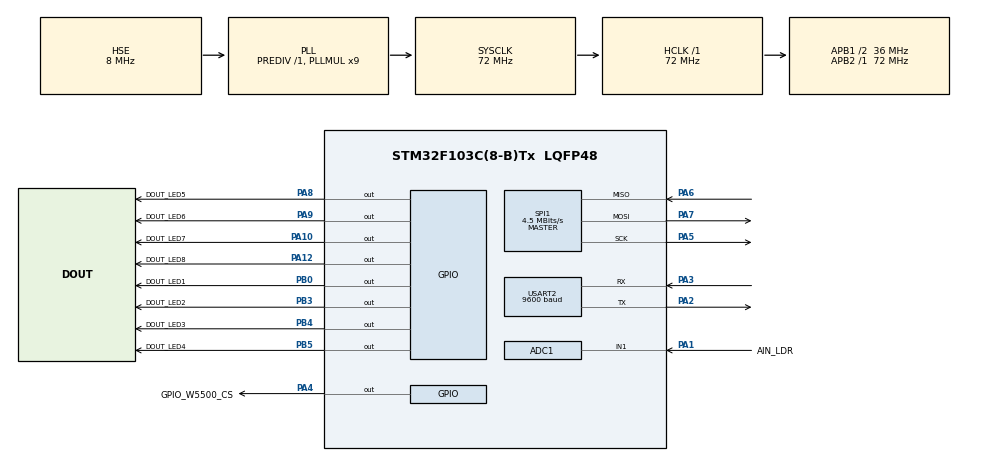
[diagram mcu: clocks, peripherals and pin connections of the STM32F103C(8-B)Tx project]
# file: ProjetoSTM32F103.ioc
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ADC1.EnableRegularConversion=DISABLE
ADC1.master=1
Mcu.Family=STM32F1
Mcu.Name=STM32F103C(8-B)Tx
Mcu.Package=LQFP48
NVIC.PriorityGroup=NVIC_PRIORITYGROUP_4
NVIC.USART2_IRQn=true\:1\:0\:true\:false\:true\:true\:true\:true
PA1.GPIO_Label=AIN_LDR
PA1.Signal=SharedAnalog_PA1
PA10.GPIO_Label=DOUT_LED7
PA10.Signal=GPIO_Output
PA12.GPIO_Label=DOUT_LED8
PA12.Signal=GPIO_Output
PA13.Mode=Serial_Wire
PA13.Signal=SYS_JTMS-SWDIO
PA14.Mode=Serial_Wire
PA14.Signal=SYS_JTCK-SWCLK
PA2.Mode=Asynchronous
PA2.Signal=USART2_TX
PA3.Mode=Asynchronous
PA3.Signal=USART2_RX
PA4.GPIO_Label=GPIO_W5500_CS
PA4.GPIO_Speed=GPIO_SPEED_FREQ_HIGH
PA4.Signal=GPIO_Output
PA5.Mode=Full_Duplex_Master
PA5.Signal=SPI1_SCK
PA6.Mode=Full_Duplex_Master
PA6.Signal=SPI1_MISO
PA7.Mode=Full_Duplex_Master
PA7.Signal=SPI1_MOSI
PA8.GPIO_Label=DOUT_LED5
PA8.Signal=GPIO_Output
PA9.GPIO_Label=DOUT_LED6
PA9.Signal=GPIO_Output
PB0.GPIO_Label=DOUT_LED1
PB0.Signal=GPIO_Output
PB3.GPIO_Label=DOUT_LED2
PB3.Signal=GPIO_Output
PB4.GPIO_Label=DOUT_LED3
PB4.Signal=GPIO_Output
PB5.GPIO_Label=DOUT_LED4
PB5.Signal=GPIO_Output
PC14-OSC32_IN.Mode=LSE-External-Oscillator
PC14-OSC32_IN.Signal=RCC_OSC32_IN
PC15-OSC32_OUT.Mode=LSE-External-Oscillator
PC15-OSC32_OUT.Signal=RCC_OSC32_OUT
PD0-OSC_IN.Mode=HSE-External-Oscillator
PD0-OSC_IN.Signal=RCC_OSC_IN
PD1-OSC_OUT.Mode=HSE-External-Oscillator
PD1-OSC_OUT.Signal=RCC_OSC_OUT
ProjectManager.HeapSize=0x200
ProjectManager.StackSize=0x400
ProjectManager.TargetToolchain=STM32CubeIDE
RCC.ADCPresc=RCC_ADCPCLK2_DIV6
RCC.AHBFreq_Value=72000000
RCC.APB1CLKDivider=RCC_HCLK_DIV2
RCC.APB1Freq_Value=36000000
RCC.APB1TimFreq_Value=72000000
RCC.APB2Freq_Value=72000000
RCC.APB2TimFreq_Value=72000000
RCC.HCLKFreq_Value=72000000
RCC.PLLMUL=RCC_PLL_MUL9
RCC.PLLSourceVirtual=RCC_PLLSOURCE_HSE
RCC.RTCClockSelection=RCC_RTCCLKSOURCE_LSE
RCC.SYSCLKFreq_VALUE=72000000
RCC.SYSCLKSource=RCC_SYSCLKSOURCE_PLLCLK
RCC.USBFreq_Value=72000000
SH.SharedAnalog_PA1.0=GPIO_Analog
SH.SharedAnalog_PA1.1=ADC1_IN1,IN1
SPI1.BaudRatePrescaler=SPI_BAUDRATEPRESCALER_16
SPI1.CalculateBaudRate=4.5 MBits/s
SPI1.Direction=SPI_DIRECTION_2LINES
SPI1.Mode=SPI_MODE_MASTER
SPI1.VirtualType=VM_MASTER
USART2.BaudRate=9600
USART2.Parity=PARITY_NONE
USART2.VirtualMode=VM_ASYNC
USART2.WordLength=WORDLENGTH_8B
board=custom

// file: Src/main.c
/* USER CODE BEGIN Header */
/**
  ******************************************************************************
  * @file           : main.c
  * @brief          : Main program body
  ******************************************************************************
  * @attention
  *
  * <h2><center>&copy; Copyright (c) 2019 STMicroelectronics.
  * All rights reserved.</center></h2>
  *
  * This software component is licensed by ST under BSD 3-Clause license,
  * the "License"; You may not use this file except in compliance with the
  * License. You may obtain a copy of the License at:
  *                        opensource.org/licenses/BSD-3-Clause
  *
  ******************************************************************************
  */
/* USER CODE END Header */
#include "main.h"

/* USER CODE BEGIN Includes */
#include "delay.h"
#include "spi.h"
#include "modbus.h"
#include <stdio.h>
#include <stdlib.h>
#include <stdarg.h>
#include <string.h>
#include "socket.h"	// Just include one header for WIZCHIP
/* USER CODE END Includes */

/* USER CODE BEGIN PTD */
typedef enum
{ Bit_RESET = 0,
  Bit_SET
}BitAction;

/* USER CODE END PTD */

/* USER CODE BEGIN PD */
#define LDR_VALUE  ADC_CHANNEL_1
/* USER CODE END PD */

ADC_HandleTypeDef hadc1;

SPI_HandleTypeDef hspi1;

UART_HandleTypeDef huart2;

/* USER CODE BEGIN PV */

char writeValue[60];
uint8_t cnt;
BitAction operatorOk = 0;
uint32_t address_mem = 0;

uint8_t TX_buffer[128];
uint8_t RX_buffer[128];
uint16_t holding_registers[64];

uint8_t S1 = 0;
uint8_t S2 = 0;
uint8_t S3 = 0;
uint8_t flag_busy_RTU = 0;
uint8_t cntBufferRTU = 0;
uint8_t FrameNrBytes = 0;

////////////////////////////////////////////////
// Shared Buffer Definition for LOOPBACK TEST //
////////////////////////////////////////////////
#define DATA_BUF_SIZE   2048
uint8_t gDATABUF[DATA_BUF_SIZE];

///////////////////////////////////
// Default Network Configuration //
///////////////////////////////////
wiz_NetInfo gWIZNETINFO = { .mac = {0xDE, 0xAD, 0xBE, 0xEF, 0xFE, 0xED},
							.ip = {169, 254, 216, 240},
							.sn = {255,255,255,0},
							.gw = {169, 254, 216, 1},
							.dns = {0,0,0,0},
							.dhcp = NETINFO_STATIC };

//states for multythread http
#define HTTP_IDLE 0
#define HTTP_SENDING 1

//variables for multythread http
uint32_t sentsize[_WIZCHIP_SOCK_NUM_];
uint32_t filesize[_WIZCHIP_SOCK_NUM_];
uint8_t http_state[_WIZCHIP_SOCK_NUM_];

/* USER CODE END PV */

void SystemClock_Config(void);
static void MX_GPIO_Init(void);
static void MX_USART2_UART_Init(void);
static void MX_SPI1_Init(void);
static void MX_ADC1_Init(void);
/* USER CODE BEGIN PFP */

// initialize the dependent host peripheral
void platform_init(void);
void reverse(char s[]);
void new_itoa(int n, char s[]);

//////////
// TODO //
//////////////////////////////////////////////////////////////////////////////////////////////
// Call back function for W5500 SPI - Theses used as parameter of reg_wizchip_xxx_cbfunc()  //
// Should be implemented by WIZCHIP users because host is dependent                         //
//////////////////////////////////////////////////////////////////////////////////////////////
void  wizchip_select(void);
void  wizchip_deselect(void);
void  wizchip_write(uint8_t wb);
uint8_t wizchip_read();
//////////////////////////////////////////////////////////////////////////////////////////////

//////////////////////////////////
// For example of ioLibrary_BSD //
//////////////////////////////////
void network_init(void);								// Initialize Network information and display it
int32_t tcp_http_mt(uint8_t, uint8_t*, uint16_t);		// Multythread TCP server
void HTTP_reset(uint8_t sockn);
//////////////////////////////////

//Define protótipos para funções de leitura dos canais analógicos configurados
uint32_t Ain_Read_value(uint32_t channel);

/* USER CODE END PFP */

int main(void)
{
  /* USER CODE BEGIN 1 */
	uint8_t i;
	uint8_t memsize[2][8] = {{2,2,2,2,2,2,2,2},{2,2,2,2,2,2,2,2}};
  /* USER CODE END 1 */

  /* MCU Configuration--------------------------------------------------------*/

  /* Reset of all peripherals, Initializes the Flash interface and the Systick. */
  HAL_Init();

  /* Configure the system clock */
  SystemClock_Config();

  /* Initialize all configured peripherals */
  MX_GPIO_Init();
  MX_USART2_UART_Init();
  MX_SPI1_Init();
  MX_ADC1_Init();
  /* USER CODE BEGIN 2 */
#if (ENABLE_MB_RTU == 1)&&(ENABLE_MB_TCP == 0)
  __HAL_UART_ENABLE_IT(&huart2,UART_IT_RXNE);
#endif

   ////////////////////////////////////////////////////////////////////////////////////////////////////
   // First of all, Should register SPI callback functions implemented by user for accessing WIZCHIP //
   ////////////////////////////////////////////////////////////////////////////////////////////////////

   /* Chip selection call back */

#if   _WIZCHIP_IO_MODE_ == _WIZCHIP_IO_MODE_SPI_VDM_
	reg_wizchip_cs_cbfunc(wizchip_select, wizchip_deselect);
#elif _WIZCHIP_IO_MODE_ == _WIZCHIP_IO_MODE_SPI_FDM_
	reg_wizchip_cs_cbfunc(wizchip_select, wizchip_select);  // CS must be tried with LOW.
#else
   #if (_WIZCHIP_IO_MODE_ & _WIZCHIP_IO_MODE_SIP_) != _WIZCHIP_IO_MODE_SIP_
	  #error "Unknown _WIZCHIP_IO_MODE_"
   #else
	  reg_wizchip_cs_cbfunc(wizchip_select, wizchip_deselect);
   #endif
#endif

	 /* SPI Read & Write callback function */
	reg_wizchip_spi_cbfunc(wizchip_read, wizchip_write);

	////////////////////////////////////////////////////////////////////////
	/* WIZCHIP SOCKET Buffer initialize */
	if(ctlwizchip(CW_INIT_WIZCHIP,(void*)memsize) == -1)
	{
	   //init fail
	   while(1);
	}

	/* Network initialization */
	network_init();

	//all connections inactive
	for(i=0;i<_WIZCHIP_SOCK_NUM_;i++)
	HTTP_reset(i);

  /* USER CODE END 2 */

  /* Infinite loop */
  while (1)
  {

    /* USER CODE BEGIN 3 */
  	/* Loopback Test */
  	// TCP server
	//4 sockets para webserver http
	for(i=4;i<_WIZCHIP_SOCK_NUM_;i++)
	{
		tcp_http_mt(i, gDATABUF, 80);
	}
	//4 sockets para modbus TCP
	for(i=0;i<4;i++)
	{
		tcp_http_mt(i, gDATABUF, 502);
	}
	//Delayms(10);

	#if (ENABLE_MB_RTU == 1)&&(ENABLE_MB_TCP == 0)
  		//Se estava recebendo frames no canal USART e parou de receber por mais de 3ms
  		//trata como se tivesse finalizado a recepção do frame MODBUS
  		if((flag_busy_RTU == 1)&&(DELAY_Time_2() >= 10))
  		{
  			flag_busy_RTU = 0;
  			holding_registers[1] = Ain_Read_value(LDR_VALUE);
			MODBUS_receive_task(RX_buffer, TX_buffer, holding_registers, sizeof(TX_buffer), sizeof(RX_buffer), &FrameNrBytes);
			HAL_UART_Transmit(&huart2, TX_buffer, FrameNrBytes, 100);
			__HAL_UART_ENABLE_IT(&huart2,UART_IT_RXNE);
			memset(RX_buffer,0,sizeof(RX_buffer));
			memset(TX_buffer,0,sizeof(TX_buffer));
			cntBufferRTU = 0;

			if(holding_registers[0]&0b0000000000000001){HAL_GPIO_WritePin(DOUT_LED1_GPIO_Port, DOUT_LED1_Pin, GPIO_PIN_SET);}
			else{HAL_GPIO_WritePin(DOUT_LED1_GPIO_Port, DOUT_LED1_Pin, GPIO_PIN_RESET);}
			if(holding_registers[0]&0b0000000000000010){HAL_GPIO_WritePin(DOUT_LED2_GPIO_Port, DOUT_LED2_Pin, GPIO_PIN_SET);}
			else{HAL_GPIO_WritePin(DOUT_LED2_GPIO_Port, DOUT_LED2_Pin, GPIO_PIN_RESET);}
			if(holding_registers[0]&0b0000000000000100){HAL_GPIO_WritePin(DOUT_LED3_GPIO_Port, DOUT_LED3_Pin, GPIO_PIN_SET);}
			else{HAL_GPIO_WritePin(DOUT_LED3_GPIO_Port, DOUT_LED3_Pin, GPIO_PIN_RESET);}
			if(holding_registers[0]&0b0000000000001000){HAL_GPIO_WritePin(DOUT_LED4_GPIO_Port, DOUT_LED4_Pin, GPIO_PIN_SET);}
			else{HAL_GPIO_WritePin(DOUT_LED4_GPIO_Port, DOUT_LED4_Pin, GPIO_PIN_RESET);}
			if(holding_registers[0]&0b0000000000010000){HAL_GPIO_WritePin(DOUT_LED5_GPIO_Port, DOUT_LED5_Pin, GPIO_PIN_SET);}
			else{HAL_GPIO_WritePin(DOUT_LED5_GPIO_Port, DOUT_LED5_Pin, GPIO_PIN_RESET);}
			if(holding_registers[0]&0b0000000000100000){HAL_GPIO_WritePin(DOUT_LED6_GPIO_Port, DOUT_LED6_Pin, GPIO_PIN_SET);}
			else{HAL_GPIO_WritePin(DOUT_LED6_GPIO_Port, DOUT_LED6_Pin, GPIO_PIN_RESET);}
			if(holding_registers[0]&0b0000000001000000){HAL_GPIO_WritePin(DOUT_LED7_GPIO_Port, DOUT_LED7_Pin, GPIO_PIN_SET);}
			else{HAL_GPIO_WritePin(DOUT_LED7_GPIO_Port, DOUT_LED7_Pin, GPIO_PIN_RESET);}
			if(holding_registers[0]&0b0000000010000000){HAL_GPIO_WritePin(DOUT_LED8_GPIO_Port, DOUT_LED8_Pin, GPIO_PIN_SET);}
			else{HAL_GPIO_WritePin(DOUT_LED8_GPIO_Port, DOUT_LED8_Pin, GPIO_PIN_RESET);}
  		}
	#endif
  }
  /* USER CODE END 3 */
}

void SystemClock_Config(void)
{
  RCC_OscInitTypeDef RCC_OscInitStruct = {0};
  RCC_ClkInitTypeDef RCC_ClkInitStruct = {0};
  RCC_PeriphCLKInitTypeDef PeriphClkInit = {0};

  /** Initializes the RCC Oscillators according to the specified parameters
  * in the RCC_OscInitTypeDef structure.
  */
  RCC_OscInitStruct.OscillatorType = RCC_OSCILLATORTYPE_HSE;
  RCC_OscInitStruct.HSEState = RCC_HSE_ON;
  RCC_OscInitStruct.HSEPredivValue = RCC_HSE_PREDIV_DIV1;
  RCC_OscInitStruct.HSIState = RCC_HSI_ON;
  RCC_OscInitStruct.PLL.PLLState = RCC_PLL_ON;
  RCC_OscInitStruct.PLL.PLLSource = RCC_PLLSOURCE_HSE;
  RCC_OscInitStruct.PLL.PLLMUL = RCC_PLL_MUL9;
  if (HAL_RCC_OscConfig(&RCC_OscInitStruct) != HAL_OK)
  {
    Error_Handler();
  }

  /** Initializes the CPU, AHB and APB buses clocks
  */
  RCC_ClkInitStruct.ClockType = RCC_CLOCKTYPE_HCLK|RCC_CLOCKTYPE_SYSCLK
                              |RCC_CLOCKTYPE_PCLK1|RCC_CLOCKTYPE_PCLK2;
  RCC_ClkInitStruct.SYSCLKSource = RCC_SYSCLKSOURCE_PLLCLK;
  RCC_ClkInitStruct.AHBCLKDivider = RCC_SYSCLK_DIV1;
  RCC_ClkInitStruct.APB1CLKDivider = RCC_HCLK_DIV2;
  RCC_ClkInitStruct.APB2CLKDivider = RCC_HCLK_DIV1;

  if (HAL_RCC_ClockConfig(&RCC_ClkInitStruct, FLASH_LATENCY_2) != HAL_OK)
  {
    Error_Handler();
  }
  PeriphClkInit.PeriphClockSelection = RCC_PERIPHCLK_ADC;
  PeriphClkInit.AdcClockSelection = RCC_ADCPCLK2_DIV6;
  if (HAL_RCCEx_PeriphCLKConfig(&PeriphClkInit) != HAL_OK)
  {
    Error_Handler();
  }
}

static void MX_ADC1_Init(void)
{

  /** Common config
  */
  hadc1.Instance = ADC1;
  hadc1.Init.ScanConvMode = ADC_SCAN_DISABLE;
  hadc1.Init.ContinuousConvMode = DISABLE;
  hadc1.Init.DiscontinuousConvMode = DISABLE;
  hadc1.Init.ExternalTrigConv = ADC_SOFTWARE_START;
  hadc1.Init.DataAlign = ADC_DATAALIGN_RIGHT;
  hadc1.Init.NbrOfConversion = 1;
  if (HAL_ADC_Init(&hadc1) != HAL_OK)
  {
    Error_Handler();
  }

}

static void MX_SPI1_Init(void)
{

  /* SPI1 parameter configuration*/
  hspi1.Instance = SPI1;
  hspi1.Init.Mode = SPI_MODE_MASTER;
  hspi1.Init.Direction = SPI_DIRECTION_2LINES;
  hspi1.Init.DataSize = SPI_DATASIZE_8BIT;
  hspi1.Init.CLKPolarity = SPI_POLARITY_LOW;
  hspi1.Init.CLKPhase = SPI_PHASE_1EDGE;
  hspi1.Init.NSS = SPI_NSS_SOFT;
  hspi1.Init.BaudRatePrescaler = SPI_BAUDRATEPRESCALER_16;
  hspi1.Init.FirstBit = SPI_FIRSTBIT_MSB;
  hspi1.Init.TIMode = SPI_TIMODE_DISABLE;
  hspi1.Init.CRCCalculation = SPI_CRCCALCULATION_DISABLE;
  hspi1.Init.CRCPolynomial = 10;
  if (HAL_SPI_Init(&hspi1) != HAL_OK)
  {
    Error_Handler();
  }

}

static void MX_USART2_UART_Init(void)
{

  huart2.Instance = USART2;
  huart2.Init.BaudRate = 9600;
  huart2.Init.WordLength = UART_WORDLENGTH_8B;
  huart2.Init.StopBits = UART_STOPBITS_1;
  huart2.Init.Parity = UART_PARITY_NONE;
  huart2.Init.Mode = UART_MODE_TX_RX;
  huart2.Init.HwFlowCtl = UART_HWCONTROL_NONE;
  huart2.Init.OverSampling = UART_OVERSAMPLING_16;
  if (HAL_UART_Init(&huart2) != HAL_OK)
  {
    Error_Handler();
  }

}

static void MX_GPIO_Init(void)
{
  GPIO_InitTypeDef GPIO_InitStruct = {0};

  /* GPIO Ports Clock Enable */
  __HAL_RCC_GPIOC_CLK_ENABLE();
  __HAL_RCC_GPIOD_CLK_ENABLE();
  __HAL_RCC_GPIOA_CLK_ENABLE();
  __HAL_RCC_GPIOB_CLK_ENABLE();

  /*Configure GPIO pin Output Level */
  HAL_GPIO_WritePin(GPIOA, GPIO_W5500_CS_Pin|DOUT_LED5_Pin|DOUT_LED6_Pin|DOUT_LED7_Pin
                          |DOUT_LED8_Pin, GPIO_PIN_RESET);

  /*Configure GPIO pin Output Level */
  HAL_GPIO_WritePin(GPIOB, DOUT_LED1_Pin|DOUT_LED2_Pin|DOUT_LED3_Pin|DOUT_LED4_Pin, GPIO_PIN_RESET);

  /*Configure GPIO pin : GPIO_W5500_CS_Pin */
  GPIO_InitStruct.Pin = GPIO_W5500_CS_Pin;
  GPIO_InitStruct.Mode = GPIO_MODE_OUTPUT_PP;
  GPIO_InitStruct.Pull = GPIO_NOPULL;
  GPIO_InitStruct.Speed = GPIO_SPEED_FREQ_HIGH;
  HAL_GPIO_Init(GPIO_W5500_CS_GPIO_Port, &GPIO_InitStruct);

  /*Configure GPIO pins : DOUT_LED1_Pin DOUT_LED2_Pin DOUT_LED3_Pin DOUT_LED4_Pin */
  GPIO_InitStruct.Pin = DOUT_LED1_Pin|DOUT_LED2_Pin|DOUT_LED3_Pin|DOUT_LED4_Pin;
  GPIO_InitStruct.Mode = GPIO_MODE_OUTPUT_PP;
  GPIO_InitStruct.Pull = GPIO_NOPULL;
  GPIO_InitStruct.Speed = GPIO_SPEED_FREQ_LOW;
  HAL_GPIO_Init(GPIOB, &GPIO_InitStruct);

  /*Configure GPIO pins : DOUT_LED5_Pin DOUT_LED6_Pin DOUT_LED7_Pin DOUT_LED8_Pin */
  GPIO_InitStruct.Pin = DOUT_LED5_Pin|DOUT_LED6_Pin|DOUT_LED7_Pin|DOUT_LED8_Pin;
  GPIO_InitStruct.Mode = GPIO_MODE_OUTPUT_PP;
  GPIO_InitStruct.Pull = GPIO_NOPULL;
  GPIO_InitStruct.Speed = GPIO_SPEED_FREQ_LOW;
  HAL_GPIO_Init(GPIOA, &GPIO_InitStruct);

}

/* USER CODE BEGIN 4 */
//Chamada da função de callback do systick (1ms)
void HAL_SYSTICK_Callback()
{
	//Chama função de incremento de contadores da biblioteca de delay
	DelayIncCnt();
}

uint8_t W5500_rxtx(uint8_t data)
{
	uint8_t rxdata;

	HAL_SPI_TransmitReceive(&hspi1, &data, &rxdata, 1, 50);

	return (rxdata);
}

//////////
// TODO //
/////////////////////////////////////////////////////////////////
// SPI Callback function for accessing WIZCHIP                 //
// WIZCHIP user should implement with your host spi peripheral //
/////////////////////////////////////////////////////////////////
void  wizchip_select(void)
{
	W5500_select();
}

void  wizchip_deselect(void)
{
	W5500_release();
}

void  wizchip_write(uint8_t wb)
{
	W5500_tx(wb);
}

uint8_t wizchip_read()
{
   return W5500_rx();
}
//////////////////////////////////////////////////////////////////////////

/////////////////////////////////////////////////////////////
// Intialize the network information to be used in WIZCHIP //
/////////////////////////////////////////////////////////////
void network_init(void)
{
   uint8_t tmpstr[6];

	ctlnetwork(CN_SET_NETINFO, (void*)&gWIZNETINFO);

	ctlwizchip(CW_GET_ID,(void*)tmpstr);
}
/////////////////////////////////////////////////////////////

///////////////////////////////////////////////////////////////
// HTTP Multythread Example Code using ioLibrary_BSD         //
///////////////////////////////////////////////////////////////
#define len(some) (sizeof(some)/sizeof(some[0]))

const char http_404_full[] =
	"HTTP/1.0 404 Not Found\r\n"
	"Content-Type: text/html;"
	"Server: STM32+W5500\r\n"
	"\r\n"
	"<pre>Page not found\r\n\r\n";

const char  http_200[] = "HTTP/1.0 200 OK\r\n";
const char http_server[] = "Server: STM32+W5500\r\n";
const char http_connection_close[] = "Connection: close\r\n";
const char http_content_type[] = "Content-Type: ";
const char http_content_length[] = "Content-Length: ";
const char  http_linebreak[] = "\r\n";
const char  http_header_end[] = "\r\n\r\n";
const char http_not_found[] = "<h1>404 - Not Found</h1>";

const char http_text_plain[] = "text/plain";
const char http_text_html[] = "text/html";
const char http_text_js[] = "text/javascript";
const char  http_text_css[] = "text/css";
const char http_image_gif[] = "image/gif";
const char http_image_png[] = "image/png";
const char  http_image_jpeg[] = "image/jpeg";
const char  http_video_mp4[] = "video/mp4";
const char  http_video_avi[] = "video/avi";

char default_page[]="index.htm";

// get mime type from filename extension
const char *httpd_get_mime_type(char *url)
{
	const char *t_type;
	char *ext;

     t_type = http_text_plain;

	if((ext = strrchr(url, '.')))
	{
		ext++;
		strlwr(ext);

	    if(strcmp(ext, "txt")==0)
		t_type = http_text_plain;

	    else if(strcmp(ext, "htm")==0)
		t_type = http_text_html;

	    else if(strcmp(ext, "html")==0)
		t_type = http_text_html;

	    else if(strcmp(ext, "js")==0)
		t_type = http_text_js;

	    else if(strcmp(ext, "css")==0)
		t_type = http_text_css;

	    else if(strcmp(ext, "gif")==0)
		t_type = http_image_gif;

	    else if(strcmp(ext, "png")==0)
		t_type = http_image_png;

	    else if(strcmp(ext, "jpg")==0)
		t_type = http_image_jpeg;

	    else if(strcmp(ext, "jpeg")==0)
		t_type = http_image_jpeg;

	    else if(strcmp(ext, "mp4")==0)
		t_type = http_video_mp4;

	    else if(strcmp(ext, "avi")==0)
		t_type = http_video_avi;

	}

	return t_type;
}

//http server

void HTTP_reset(uint8_t sockn)
{
    sentsize[sockn]=0;
	http_state[sockn]=HTTP_IDLE;
}

int32_t tcp_http_mt(uint8_t sn, uint8_t* buf, uint16_t port)
{
   int32_t ret;
   uint32_t size = 0;
   uint16_t cntBytesTX;
   uint32_t sampleTX;
   uint8_t flagHtmlGen = 0;
   char *url,*p;
   uint16_t blocklen=0;

   switch(getSn_SR(sn))
   {
      case SOCK_ESTABLISHED :

         if(getSn_IR(sn) & Sn_IR_CON)
         {
            setSn_IR(sn,Sn_IR_CON);
         }

         if((size = getSn_RX_RSR(sn)) > 0)
         {
            if(size > DATA_BUF_SIZE) size = DATA_BUF_SIZE;
            ret = recv(sn,buf,size);

            HTTP_reset(sn);

            if(ret <= 0)
            return ret;

            url =(char*) buf + 4;

            if((http_state[sn]==HTTP_IDLE)&&(memcmp(buf, "GET ", 4)==0)&&((p = strchr(url, ' '))))// extract URL from request header
            {
              *(p++) = 0;//making zeroed url string

				if ((url != NULL)&&(strncmp("/favicon.ico",url,12) != 0))
				{
					flagHtmlGen = 1;
					if (strncmp("/S1/ON",url,6) == 0)
					{
						S1 = 1;
						HAL_GPIO_WritePin(DOUT_LED1_GPIO_Port, DOUT_LED1_Pin, GPIO_PIN_SET);
					}
					else if (strncmp("/S1/OFF",url,6) == 0)
					{
						S1 = 0;
						HAL_GPIO_WritePin(DOUT_LED1_GPIO_Port, DOUT_LED1_Pin, GPIO_PIN_RESET);
					}
					else if (strncmp("/S2/ON",url,6) == 0)
					{
						S2 = 1;
						HAL_GPIO_WritePin(DOUT_LED2_GPIO_Port, DOUT_LED2_Pin, GPIO_PIN_SET);
					}
					else if (strncmp("/S2/OFF",url,6) == 0)
					{
						S2 = 0;
						HAL_GPIO_WritePin(DOUT_LED2_GPIO_Port, DOUT_LED2_Pin, GPIO_PIN_RESET);
					}
					else if (strncmp("/S3/ON",url,6) == 0)
					{
						S3 = 1;
						HAL_GPIO_WritePin(DOUT_LED3_GPIO_Port, DOUT_LED3_Pin, GPIO_PIN_SET);
					}
					else if (strncmp("/S3/OFF",url,6) == 0)
					{
						S3 = 0;
						HAL_GPIO_WritePin(DOUT_LED3_GPIO_Port, DOUT_LED3_Pin, GPIO_PIN_RESET);
					}
					else if (strcmp("/DOWNLOAD.txt",url) == 0)
					{
						strcpy((char*)buf,"HTTP/1.0 200 OK\r\nContent-Type: application/octet-stream\r\n\r\n");
						cntBytesTX = 0;
						sampleTX = 0;
						do
						{

							memset(&writeValue,0,sizeof(writeValue));
							strcpy(writeValue, "23/12/2017 ; 10:50:00 ; 28ºC \r\n");
							//print_text(&writeValue[0]);
							strcat((char*)buf, writeValue);
							cntBytesTX += strlen(writeValue);
							sampleTX++;

							if (cntBytesTX>=1000)
							{
								cntBytesTX = 0;
								blocklen = strlen((char*)buf);
								ret = send(sn,buf,blocklen);
								memset(buf,0,DATA_BUF_SIZE);
								if(ret < 0)
								{
									close(sn);
									return ret;
								}
								Delayus(100);
							}
						} while (sampleTX < 100000);

						Delayms(1);
						flagHtmlGen = 0;
						HTTP_reset(sn);
						disconnect(sn);

					}

					//Geração da HTML
					if(flagHtmlGen == 1)
					{
						strcpy((char*)buf,"HTTP/1.0 200 OK\r\nContent-Type: text/html\r\n\r\n");
						strcat((char*)buf, "<html><head>");
						strcat((char*)buf, "<title>Eletrocursos W5500 Web Server</title>");
						strcat((char*)buf, "<link href='https://maxcdn.bootstrapcdn.com/bootstrap/3.3.1/css/bootstrap.min.css' rel='stylesheet'></link>");
						strcat((char*)buf, "</head>");
						strcat((char*)buf, "<body>");
						strcat((char*)buf, "<div class='jumbotron'>");
						strcat((char*)buf, "<h2>ELETROCURSOS - Interface De Comando</h2>");

						strcat((char*)buf, "<div class='row'>");
						strcat((char*)buf, "<div class='col-md-3'>");
						strcat((char*)buf, "<table class='table table-bordered'>");
						strcat((char*)buf, "<tbody>");

						strcat((char*)buf, "<tr>");
						strcat((char*)buf, "<td>Saida 1 - ");
						if(S1 == 1)
						{
							strcat((char*)buf, "On");
							strcat((char*)buf, "</td><td><a href='/S1/OFF'>DESLIGAR</a>");
						}
						else
						{
							strcat((char*)buf, "Off");
							strcat((char*)buf, "</td><td><a href='/S1/ON'>LIGAR</a>");
						}

						strcat((char*)buf, "</td>");
						strcat((char*)buf, "</tr>");
						strcat((char*)buf, "<td>Saida 2 - ");
						if(S2 == 1)
						{
							 strcat((char*)buf, "On");
							 strcat((char*)buf, "</td><td><a href='/S2/OFF'>DESLIGAR</a>");
						}
						else
						{
							 strcat((char*)buf, "Off");
							 strcat((char*)buf, "</td><td><a href='/S2/ON'>LIGAR</a>");
						}

						strcat((char*)buf, "</td>");
						strcat((char*)buf, "</tr>");
						strcat((char*)buf, "<td>Saida 3 - ");
						if(S3 == 1)
						{
							strcat((char*)buf, "On");
							strcat((char*)buf, "</td><td><a href='/S3/OFF'>DESLIGAR</a>");
						}
						else
						{
							 strcat((char*)buf, "Off");
							 strcat((char*)buf, "</td><td><a href='/S3/ON'>LIGAR</a>");
						}

						strcat((char*)buf, "</td>");
						strcat((char*)buf, "</tr>");

						strcat((char*)buf, "<td>Download");
						strcat((char*)buf, "</td><td><a href='/DOWNLOAD.txt'>DOWNLOAD</a>");
						strcat((char*)buf, "</td>");
						strcat((char*)buf, "</html>");

						blocklen = strlen((char*)buf);

						ret = send(sn,buf,blocklen);
						if(ret < 0)
						{
							close(sn);
							return ret;
						}
						else
						{
							HTTP_reset(sn);
							disconnect(sn);
						}
					}
				}
				else
				{
//					strcpy((char*)buf,http_404_full);
//					size=strlen((char*)buf);
//					ret=send(sn,buf,size);
//					if(ret < 0)
//					{
//						close(sn);
//						return ret;
//					}
					HTTP_reset(sn);
					disconnect(sn);
				}

        	  }
			#if (ENABLE_MB_RTU == 0)&&(ENABLE_MB_TCP == 1)
			else if(http_state[sn]==HTTP_IDLE)
            {
				holding_registers[1] = Ain_Read_value(LDR_VALUE);

				memcpy(RX_buffer, buf, sizeof(RX_buffer));
				MODBUS_receive_task(RX_buffer, TX_buffer, holding_registers, sizeof(TX_buffer), sizeof(RX_buffer), &FrameNrBytes);
				memset(buf,0,DATA_BUF_SIZE);
				memcpy(buf, TX_buffer, FrameNrBytes);

				ret = send(sn,buf,FrameNrBytes);
				if(ret < 0)
				{
					close(sn);
					return ret;
				}

				if(holding_registers[0]&0b0000000000000001){HAL_GPIO_WritePin(DOUT_LED1_GPIO_Port, DOUT_LED1_Pin, GPIO_PIN_SET);}
				else{HAL_GPIO_WritePin(DOUT_LED1_GPIO_Port, DOUT_LED1_Pin, GPIO_PIN_RESET);}
				if(holding_registers[0]&0b0000000000000010){HAL_GPIO_WritePin(DOUT_LED2_GPIO_Port, DOUT_LED2_Pin, GPIO_PIN_SET);}
				else{HAL_GPIO_WritePin(DOUT_LED2_GPIO_Port, DOUT_LED2_Pin, GPIO_PIN_RESET);}
				if(holding_registers[0]&0b0000000000000100){HAL_GPIO_WritePin(DOUT_LED3_GPIO_Port, DOUT_LED3_Pin, GPIO_PIN_SET);}
				else{HAL_GPIO_WritePin(DOUT_LED3_GPIO_Port, DOUT_LED3_Pin, GPIO_PIN_RESET);}
				if(holding_registers[0]&0b0000000000001000){HAL_GPIO_WritePin(DOUT_LED4_GPIO_Port, DOUT_LED4_Pin, GPIO_PIN_SET);}
				else{HAL_GPIO_WritePin(DOUT_LED4_GPIO_Port, DOUT_LED4_Pin, GPIO_PIN_RESET);}
				if(holding_registers[0]&0b0000000000010000){HAL_GPIO_WritePin(DOUT_LED5_GPIO_Port, DOUT_LED5_Pin, GPIO_PIN_SET);}
				else{HAL_GPIO_WritePin(DOUT_LED5_GPIO_Port, DOUT_LED5_Pin, GPIO_PIN_RESET);}
				if(holding_registers[0]&0b0000000000100000){HAL_GPIO_WritePin(DOUT_LED6_GPIO_Port, DOUT_LED6_Pin, GPIO_PIN_SET);}
				else{HAL_GPIO_WritePin(DOUT_LED6_GPIO_Port, DOUT_LED6_Pin, GPIO_PIN_RESET);}
				if(holding_registers[0]&0b0000000001000000){HAL_GPIO_WritePin(DOUT_LED7_GPIO_Port, DOUT_LED7_Pin, GPIO_PIN_SET);}
				else{HAL_GPIO_WritePin(DOUT_LED7_GPIO_Port, DOUT_LED7_Pin, GPIO_PIN_RESET);}
				if(holding_registers[0]&0b0000000010000000){HAL_GPIO_WritePin(DOUT_LED8_GPIO_Port, DOUT_LED8_Pin, GPIO_PIN_SET);}
				else{HAL_GPIO_WritePin(DOUT_LED8_GPIO_Port, DOUT_LED8_Pin, GPIO_PIN_RESET);}

         }
		 #endif
         }
         break;
      case SOCK_CLOSE_WAIT :

    	  HTTP_reset(sn);

         if((ret=disconnect(sn)) != SOCK_OK)
         return ret;

         break;
      case SOCK_INIT :

    	  HTTP_reset(sn);

         if( (ret = listen(sn)) != SOCK_OK) return ret;
         break;
      case SOCK_CLOSED:

    	  HTTP_reset(sn);

         if((ret=socket(sn,Sn_MR_TCP,port,0x00)) != sn)
         return ret;

         break;

      default:
    	  HTTP_reset(sn);
         break;
   }
   return 1;
}

//****************************************************
// reverse:
void reverse(char s[])
{
    int i, j;
    char c;

    for (i = 0, j = strlen(s)-1; i<j; i++, j--) {
        c = s[i];
        s[i] = s[j];
        s[j] = c;
    }
}

//*******************************************************
// itoa
 void new_itoa(int n, char s[])
 {
     int i, sign;

     if ((sign = n) < 0)  /* sign */
         n = -n;          /* make positive n */
     i = 0;
     do {       /* generate reverse */
         s[i++] = n % 10 + '0';   /* next digit */
     } while ((n /= 10) > 0);     /* delete */
     if (sign < 0)
         s[i++] = '-';
     s[i] = '\0';
     reverse(s);
 }

 uint32_t Ain_Read_value(uint32_t channel)
 {
   uint32_t result;
   ADC_ChannelConfTypeDef sConfig;

   sConfig.Channel = channel;
   sConfig.SamplingTime = ADC_SAMPLETIME_41CYCLES_5;
   sConfig.Rank = ADC_REGULAR_RANK_1;

   HAL_ADC_ConfigChannel(&hadc1, &sConfig);

   HAL_ADCEx_Calibration_Start(&hadc1);

   HAL_ADC_Start(&hadc1);
   HAL_ADC_PollForConversion(&hadc1, 1000);
   result = HAL_ADC_GetValue(&hadc1);
   HAL_ADC_Stop(&hadc1);

   return result;
 }

#if (ENABLE_MB_RTU == 1)&&(ENABLE_MB_TCP == 0)
 //Armazena a informação recebida via ModbusRTU em um buffer
void RTU_RX_Int(UART_HandleTypeDef* huart)
{
	uint8_t c;

	if(huart->Instance == USART2)
	{
		HAL_UART_Receive(huart, &c, 1,100);
		if(cntBufferRTU < 128)
		{
			RX_buffer[cntBufferRTU] = c;
			cntBufferRTU++;
		}
		flag_busy_RTU = 1;
		DELAY_SetTime_2(0);
	}

}
#endif

/* USER CODE END 4 */

void Error_Handler(void)
{
}
